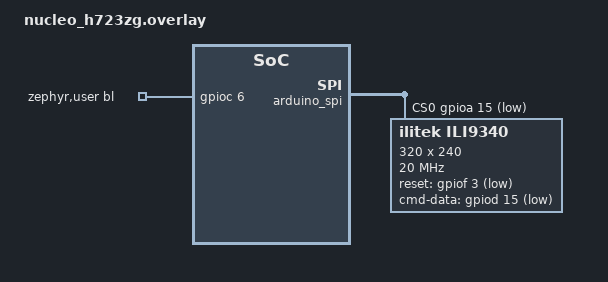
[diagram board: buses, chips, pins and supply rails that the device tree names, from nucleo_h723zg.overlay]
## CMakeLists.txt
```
# SPDX-License-Identifier: Apache-2.0

cmake_minimum_required(VERSION 3.20.0)
find_package(Zephyr REQUIRED HINTS $ENV{ZEPHYR_BASE})
project(empty_project)
set_property(TARGET app PROPERTY CXX_STANDARD 17)
target_sources(app PRIVATE src/main.cpp src/pca9685.c src/ui.cpp)
```

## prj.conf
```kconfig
CONFIG_HEAP_MEM_POOL_SIZE=16384
CONFIG_MAIN_STACK_SIZE=8192
CONFIG_GPIO=y
CONFIG_SPI=y
CONFIG_I2C=y
CONFIG_USB_DEVICE_STACK=y
CONFIG_USB_DEVICE_PRODUCT="EspMon"
CONFIG_USB_DRIVER_LOG_LEVEL_ERR=y
CONFIG_USB_CDC_ACM=y
CONFIG_USB_DEVICE_PID=0x0110
CONFIG_USB_DEVICE_INITIALIZE_AT_BOOT=y
CONFIG_UART_INTERRUPT_DRIVEN=y 
CONFIG_SERIAL=y
CONFIG_UART_LINE_CTRL=y
CONFIG_UART_LINE_CTRL=y
CONFIG_SERIAL=y
CONFIG_DISPLAY=y
CONFIG_PWM=y
CONFIG_PWM_PCA9685=y
CONFIG_LOG=y
CONFIG_HTCW_BITS=y
CONFIG_HTCW_IO=y
CONFIG_IO_NO_FS=y
CONFIG_HTCW_ML=y
CONFIG_HTCW_DATA=y
CONFIG_HTCW_GFX=y
CONFIG_HTCW_UIX=y
CONFIG_CPP=y
CONFIG_STD_CPP17=y
CONFIG_NEWLIB_LIBC=y
```

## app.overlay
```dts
&zephyr_udc0 {
    cdc_acm_uart0: cdc_acm_uart0 {
        compatible = "zephyr,cdc-acm-uart";
        status = "okay";
    };
    
};
/ {
    chosen {
        zephyr,console = &cdc_acm_uart0;
        zephyr,shell-uart = &cdc_acm_uart0;
    };
};
```

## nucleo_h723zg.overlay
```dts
#include <zephyr/dt-bindings/display/ili9xxx.h>
/ {
	chosen {
		zephyr,display = &ili9340;
	};
	zephyr,user {
		// backlight
		bl_gpios = <&gpioc 6 GPIO_ACTIVE_HIGH>;
	};	
};
&arduino_spi {
	status = "okay";
	cs-gpios = <&gpioa 15 (GPIO_ACTIVE_LOW | GPIO_PULL_UP)>;
	ili9340: ili9340@0 {
		compatible = "ilitek,ili9340";
		spi-max-frequency = <20000000>;
		reg = <0>;
		reset-gpios = <&gpiof 3 (GPIO_ACTIVE_LOW | GPIO_PULL_UP)>;
        cmd-data-gpios = <&gpiod 15 (GPIO_ACTIVE_LOW | GPIO_PULL_UP)>;
		width = <320>;
		height = <240>;
		pixel-format = <ILI9XXX_PIXEL_FORMAT_RGB565>;
		rotation = <270>;
		frmctr1 = [00 18];
		pwctrl1 = [23 00];
		vmctrl1 = [3e 28];
		vmctrl2 = [86];
		pgamctrl = [0f 31 2b 0c 0e 08 4e f1 37 07 10 03 0e 09 00];
		ngamctrl = [00 0e 14 03 11 07 31 c1 48 08 0f 0c 31 36 0f];
	};
};
```

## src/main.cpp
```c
/*
 * Copyright (c) 2016 Intel Corporation
 *
 * SPDX-License-Identifier: Apache-2.0
 */
#define SPI_OP                                                                                     \
	SPI_OP_MODE_MASTER | SPI_MODE_CPOL | SPI_MODE_CPHA | SPI_WORD_SET(8) | SPI_LINES_SINGLE
#include <zephyr/kernel.h>
#include <zephyr/device.h>
#include <zephyr/drivers/gpio.h>
#include <zephyr/drivers/spi.h>
#include <zephyr/drivers/i2c.h>
#include <zephyr/drivers/led.h>
#include <zephyr/drivers/display.h>
#include <zephyr/logging/log.h>
#include <string.h>
#include <stdio.h>
#include <gfx.hpp>
#include <uix.hpp>
#include "interface.hpp"
#include "ui.hpp"
extern "C" int main(void);

#define LOG_LEVEL CONFIG_LOG_DEFAULT_LEVEL
LOG_MODULE_REGISTER(app);

#define ZEPHYR_USER_NODE DT_PATH(zephyr_user)

using namespace gfx;
using namespace uix;

static const struct gpio_dt_spec lcd_bl = GPIO_DT_SPEC_GET(ZEPHYR_USER_NODE, bl_gpios);


static uint32_t get_ms() {
	return k_uptime_get();
}

static int serial_getch() {
	return -1;
    //return getc(stdin);
}
static size_t serial_read_bytes(uint8_t* buf, size_t len) {
	return fread(buf,1,len,stdin);
}
int main(void)
{
	printf("booted\n");
	static uint32_t timeout_ts=0;
	bool connected=false;
	int old_cpu_temp=-1;
	int old_gpu_temp=0;
	char cpu_sz[16];
	char gpu_sz[16];
	main_screen_init();
	disconnected_screen_init();
	int ret;
	
	if (!gpio_is_ready_dt(&lcd_bl)) {
		printf("Could not get backlight GPIO. Aborting\n");
		return -1;
	}
	ret = gpio_pin_configure_dt(&lcd_bl, GPIO_OUTPUT_ACTIVE);
	if (ret < 0) {
		return -1;
	}
	gpio_pin_set_dt(&lcd_bl, 1);
	
	if (display_dev == NULL) {
		printf("device not found.  Aborting.\n");
		gpio_pin_set_dt(&lcd_bl, 0);
		return -1;
	}
	display_blanking_off(display_dev);
	while(serial_getch()!=-1);
	printf("cleared serial buffer\n");
	while (1) {
		// timeout for disconnection detection (1 second)
		if(timeout_ts!=0 && get_ms()>timeout_ts+1000) {
			timeout_ts = 0;
			active_screen=&disconnected_screen;
			active_screen->invalidate();
			connected = false;
		}
		
		// listen for incoming serial
		bool done = false;
		while(!done) {
			int i = serial_getch();
			uint8_t tmp;    
			if(i>-1) { // if data received...
				// reset the disconnect timeout
				timeout_ts = get_ms(); 
				if(!connected) {
					active_screen = &main_screen;
					active_screen->invalidate();
					connected = true;
				}
				printf("found serial data\n");
				switch(i) {
					case read_status_t::command: {
						read_status_t data;
						if(sizeof(data)==serial_read_bytes((uint8_t*)&data,sizeof(data))) {
							// update the CPU graph buffer (usage)
							if (cpu_buffers[0].full()) {
								cpu_buffers[0].get(&tmp);
							}
							cpu_buffers[0].put((data.cpu_usage/100.0f)*255);
							// update the bar and label values (usage)
							cpu_values[0]=data.cpu_usage/100.0f;
							// update the CPU graph buffer (temperature)
							if (cpu_buffers[1].full()) {
								cpu_buffers[1].get(&tmp);
							}
							cpu_buffers[1].put((data.cpu_temp/(float)data.cpu_temp_max)*255);
							if(data.cpu_temp>cpu_max_temp) {
								cpu_max_temp = data.cpu_temp;
							}
							// update the bar and label values (temperature)
							cpu_values[1]=data.cpu_temp/(float)data.cpu_temp_max;
							// force a redraw of the CPU bar and graph
							cpu_graph.invalidate();
							cpu_bar.invalidate();
							// update CPU the label (temperature)
							if(old_cpu_temp!=data.cpu_temp) {
								old_cpu_temp = data.cpu_temp;
								sprintf(cpu_sz,"%dC",data.cpu_temp);
								cpu_temp_label.text(cpu_sz);
							}
							// update the GPU graph buffer (usage)
							if (gpu_buffers[0].full()) {
								gpu_buffers[0].get(&tmp);
							}
							gpu_buffers[0].put((data.gpu_usage/100.0f)*255);
							// update the bar and label values (usage)
							gpu_values[0] = data.gpu_usage/100.0f;
							// update the GPU graph buffer (temperature)
							if (gpu_buffers[1].full()) {
								gpu_buffers[1].get(&tmp);
							}
							gpu_buffers[1].put((data.gpu_temp/(float)data.gpu_temp_max)*255);
							if(data.gpu_temp>gpu_max_temp) {
								gpu_max_temp = data.gpu_temp;
							}
							// update the bar and label values (temperature)
							gpu_values[1] = data.gpu_temp/(float)data.gpu_temp_max;
							// force a redraw of the GPU bar and graph
							gpu_graph.invalidate();
							gpu_bar.invalidate();
							// update GPU the label (temperature)
							if(old_gpu_temp!=data.gpu_temp) {
								old_gpu_temp = data.gpu_temp;
								sprintf(gpu_sz,"%dC",data.gpu_temp);
								gpu_temp_label.text(gpu_sz);   
							}
						} else {
							// eat bad data
							while(-1!=serial_getch());
						}
					}
					break;
					default:
						// eat unrecognized data
						while(-1!=serial_getch());
						break;
				};
			} else {
				done = true;
			}
		}
		if(active_screen!=nullptr) {
			active_screen->update();
		}		
	}
	
	return 0;
}
```

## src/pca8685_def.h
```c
#ifndef PCA9685_DEF_H
#define PCA9685_DEF_H
// REGISTER ADDRESSES
#define PCA9685_MODE1 0x00      /**< Mode Register 1 */
#define PCA9685_MODE2 0x01      /**< Mode Register 2 */
#define PCA9685_SUBADR1 0x02    /**< I2C-bus subaddress 1 */
#define PCA9685_SUBADR2 0x03    /**< I2C-bus subaddress 2 */
#define PCA9685_SUBADR3 0x04    /**< I2C-bus subaddress 3 */
#define PCA9685_ALLCALLADR 0x05 /**< LED All Call I2C-bus address */
#define PCA9685_LED0_ON_L 0x06  /**< LED0 on tick, low byte*/
#define PCA9685_LED0_ON_H 0x07  /**< LED0 on tick, high byte*/
#define PCA9685_LED0_OFF_L 0x08 /**< LED0 off tick, low byte */
#define PCA9685_LED0_OFF_H 0x09 /**< LED0 off tick, high byte */
// etc all 16:  LED15_OFF_H 0x45
#define PCA9685_ALLLED_ON_L 0xFA  /**< load all the LEDn_ON registers, low */
#define PCA9685_ALLLED_ON_H 0xFB  /**< load all the LEDn_ON registers, high */
#define PCA9685_ALLLED_OFF_L 0xFC /**< load all the LEDn_OFF registers, low */
#define PCA9685_ALLLED_OFF_H 0xFD /**< load all the LEDn_OFF registers,high */
#define PCA9685_PRESCALE 0xFE     /**< Prescaler for PWM output frequency */
#define PCA9685_TESTMODE 0xFF     /**< defines the test mode to be entered */

// MODE1 bits
#define MODE1_ALLCAL 0x01  /**< respond to LED All Call I2C-bus address */
#define MODE1_SUB3 0x02    /**< respond to I2C-bus subaddress 3 */
#define MODE1_SUB2 0x04    /**< respond to I2C-bus subaddress 2 */
#define MODE1_SUB1 0x08    /**< respond to I2C-bus subaddress 1 */
#define MODE1_SLEEP 0x10   /**< Low power mode. Oscillator off */
#define MODE1_AI 0x20      /**< Auto-Increment enabled */
#define MODE1_EXTCLK 0x40  /**< Use EXTCLK pin clock */
#define MODE1_RESTART 0x80 /**< Restart enabled */
// MODE2 bits
#define MODE2_OUTNE_0 0x01 /**< Active LOW output enable input */
#define MODE2_OUTNE_1                                                          \
  0x02 /**< Active LOW output enable input - high impedience */
#define MODE2_OUTDRV 0x04 /**< totem pole structure vs open-drain */
#define MODE2_OCH 0x08    /**< Outputs change on ACK vs STOP */
#define MODE2_INVRT 0x10  /**< Output logic state inverted */

#define PCA9685_I2C_ADDRESS 0x40      /**< Default PCA9685 I2C Slave Address */
#define FREQUENCY_OSCILLATOR 25000000 /**< Int. osc. frequency in datasheet */

#define PCA9685_PRESCALE_MIN 3   /**< minimum prescale value */
#define PCA9685_PRESCALE_MAX 255 /**< maximum prescale value */
#endif // PCA9685_DEF_H
```

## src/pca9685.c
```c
#include "pca9685_def.h"
#include "pca9685.h"
#include <zephyr/sys_clock.h>
#include <zephyr/kernel.h>
#include <zephyr/drivers/i2c.h>
int pca9685_reset(const struct device *i2c_dev, uint8_t address)
{
	int ret = i2c_reg_write_byte(i2c_dev, address, PCA9685_MODE1, MODE1_RESTART);
	if (ret) {
		printk("Unable to write to MODE1. (err %i)\n", ret);
		return ret;
	}
	k_timeout_t t;
	t.ticks = 10;
	k_sleep(t);
	return 0;
}
int pca9685_sleep(const struct device *i2c_dev, uint8_t address)
{
	uint8_t val;
	int ret = i2c_reg_read_byte(i2c_dev, address, PCA9685_MODE1, &val);
	if (ret) {
		printk("Unable to read from MODE1. (err %i)\n", ret);
		return ret;
	}
	uint8_t sleep = val | MODE1_SLEEP; // set sleep bit high
	ret = i2c_reg_write_byte(i2c_dev, address, PCA9685_MODE1, sleep);
	if (ret) {
		printk("Unable to write to MODE1. (err %i)\n", ret);
		return ret;
	}

	k_timeout_t t;
	t.ticks = 10;
	k_sleep(t);
	return 0;
}
int pca9685_wake(const struct device *i2c_dev, uint8_t address)
{
	uint8_t sleep;
	int ret = i2c_reg_read_byte(i2c_dev, address, PCA9685_MODE1, &sleep);
	if (ret) {
		printk("Unable to read from MODE1. (err %i)\n", ret);
		return ret;
	}
	uint8_t wakeup = sleep & ~MODE1_SLEEP; // set sleep bit low
	ret = i2c_reg_write_byte(i2c_dev, address, PCA9685_MODE1, wakeup);
	if (ret) {
		printk("Unable to write to MODE1. (err %i)\n", ret);
		return ret;
	}
	return 0;
}
int pca9685_set_ext_clock(const struct device *i2c_dev, uint8_t address, uint8_t prescale)
{
	uint8_t oldmode;
	int ret = i2c_reg_read_byte(i2c_dev, address, PCA9685_MODE1, &oldmode);
	if (ret) {
		printk("Unable to read from MODE1. (err %i)\n", ret);
		return ret;
	}
	uint8_t newmode = (oldmode & ~MODE1_RESTART) | MODE1_SLEEP; // sleep
	ret = i2c_reg_write_byte(i2c_dev, address, PCA9685_MODE1,
				 newmode); // go to sleep, turn off internal oscillator
	if (ret) {
		printk("Unable to write to MODE1. (err %i)\n", ret);
		return ret;
	}
	// This sets both the SLEEP and EXTCLK bits of the MODE1 register to switch to
	// use the external clock.
	ret = i2c_reg_write_byte(i2c_dev, address, PCA9685_MODE1, (newmode |= MODE1_EXTCLK));
	if (ret) {
		printk("Unable to write to MODE1. (err %i)\n", ret);
		return ret;
	}
	ret = i2c_reg_write_byte(i2c_dev, address, PCA9685_PRESCALE, prescale); // set the prescaler
	if (ret) {
		printk("Unable to write to PRESCALE. (err %i)\n", ret);
		return ret;
	}
	k_timeout_t t;
	t.ticks = 5;
	k_sleep(t);
	// clear the SLEEP bit to start
	ret = i2c_reg_write_byte(i2c_dev, address, PCA9685_MODE1,
				 (newmode & ~MODE1_SLEEP) | MODE1_RESTART | MODE1_AI);
	if (ret) {
		printk("Unable to write to MODE1. (err %i)\n", ret);
		return ret;
	}
	return 0;
}
int pca9685_get_ext_clock(const struct device *i2c_dev, uint8_t address, uint8_t *out_prescale)
{
	int ret = i2c_reg_read_byte(i2c_dev, address, PCA9685_PRESCALE,
				    out_prescale); // set the prescaler
	if (ret) {
		printk("Unable to read from PRESCALE. (err %i)\n", ret);
		return ret;
	}
	return 0;
}
int pca9685_set_pwm_freq(const struct device *i2c_dev, uint8_t address, float oscillator_freq,
			 float freq)
{
	// Range output modulation frequency is dependant on oscillator
	if (freq < 1) {
		freq = 1;
	}
	if (freq > 3500) {
		freq = 3500; // Datasheet limit is 3052=50MHz/(4*4096)
	}

	float prescaleval = ((oscillator_freq / (freq * 4096.0)) + 0.5) - 1;
	if (prescaleval < PCA9685_PRESCALE_MIN) {
		prescaleval = PCA9685_PRESCALE_MIN;
	}
	if (prescaleval > PCA9685_PRESCALE_MAX) {
		prescaleval = PCA9685_PRESCALE_MAX;
	}
	uint8_t prescale = (uint8_t)prescaleval;

	uint8_t oldmode;
	int ret = i2c_reg_read_byte(i2c_dev, address, PCA9685_MODE1, &oldmode);
	if (ret) {
		printk("Unable to read from MODE1. (err %i)\n", ret);
		return ret;
	}
	uint8_t newmode = (oldmode & ~MODE1_RESTART) | MODE1_SLEEP;         // sleep
	ret = i2c_reg_write_byte(i2c_dev, address, PCA9685_MODE1, newmode); // go to sleep
	if (ret) {
		printk("Unable to write to MODE1. (err %i)\n", ret);
		return ret;
	}
	ret = i2c_reg_write_byte(i2c_dev, address, PCA9685_PRESCALE, prescale); // set the prescaler
	if (ret) {
		printk("Unable to write to PRESCALE. (err %i)\n", ret);
		return ret;
	}
	ret = i2c_reg_write_byte(i2c_dev, address, PCA9685_MODE1, oldmode);
	if (ret) {
		printk("Unable to write to MODE1. (err %i)\n", ret);
		return ret;
	}
	k_timeout_t t;
	t.ticks = 5;
	k_sleep(t);
	// This sets the MODE1 register to turn on auto increment.
	ret = i2c_reg_write_byte(i2c_dev, address, PCA9685_MODE1,
				 oldmode | MODE1_RESTART | MODE1_AI);
	if (ret) {
		printk("Unable to write to MODE1. (err %i)\n", ret);
		return ret;
	}
	return 0;
}
int pca9685_set_pwm(const struct device *i2c_dev, uint8_t address, uint8_t num, uint16_t on,
		    uint16_t off)
{
	uint8_t buffer[5];
	buffer[0] = PCA9685_LED0_ON_L + 4 * num;
	buffer[1] = on;
	buffer[2] = on >> 8;
	buffer[3] = off;
	buffer[4] = off >> 8;
	int ret = i2c_write(i2c_dev, buffer, sizeof(buffer), address);
	if (ret) {
		printk("Unable to set PWM. (err %i)\n", ret);
		return ret;
	}

	return 0;
}
int pca9685_get_pwm(const struct device *i2c_dev, uint8_t address, uint8_t num, uint16_t *out_on,
		    uint16_t *out_off)
{
	uint8_t out_buf[2];
    uint8_t in_buf[2];
	in_buf[0] = PCA9685_LED0_ON_L + 4 * num;
	in_buf[1] = 0;
	int ret;
    if (out_on != NULL) {
		ret = i2c_write_read(i2c_dev,address,in_buf,sizeof(in_buf),out_buf,sizeof(out_buf));
        if(ret) {
            printk("Unable to get PWM on value. (err %i)\n", ret);
            return ret;
        }
        *out_on =  ((uint16_t)out_buf[0]) | (((uint16_t)out_buf[1]) << 8);
	}
    if(out_off!=NULL) {
        in_buf[0]+=2;
        ret = i2c_write_read(i2c_dev,address,in_buf,sizeof(in_buf),out_buf,sizeof(out_buf));
        if(ret) {
            printk("Unable to get PWM off value. (err %i)\n", ret);
            return ret;
        }
        *out_off =  ((uint16_t)out_buf[0]) | (((uint16_t)out_buf[1]) << 8);
    }
    return 0;
}
```

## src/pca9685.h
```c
#ifndef PCA9685_H
#define PCA9685_H
#include <zephyr/device.h>
#define PCA9685_I2C_ADDRESS 0x40      /**< Default PCA9685 I2C Slave Address */
#define PCA9685_FREQUENCY_OSCILLATOR 25000000 /**< Int. osc. frequency in datasheet */
#ifdef __cplusplus
extern "C" {
#endif
	int pca9685_reset(const struct device* i2c_dev, uint8_t address);
	int pca9685_sleep(const struct device* i2c_dev, uint8_t address);
    int pca9685_wake(const struct device* i2c_dev, uint8_t address);
	int pca9685_set_ext_clock(const struct device* i2c_dev, uint8_t address,uint8_t prescale);
	int pca9685_get_ext_clock(const struct device* i2c_dev, uint8_t address,uint8_t* out_prescale);
	int pca9685_set_pwm_freq(const struct device* i2c_dev, uint8_t address,float oscillator_freq, float freq);
	int pca9685_set_pwm(const struct device*i2c_dev, uint8_t address, uint8_t num, uint16_t on, uint16_t off);
	int pca9685_get_pwm(const struct device *i2c_dev, uint8_t address, uint8_t num, uint16_t* out_on, uint16_t* out_off);
#ifdef __cplusplus
}
#endif
#endif
```

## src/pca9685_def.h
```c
#ifndef PCA9685_DEF_H
#define PCA9685_DEF_H
// REGISTER ADDRESSES
#define PCA9685_MODE1 0x00      /**< Mode Register 1 */
#define PCA9685_MODE2 0x01      /**< Mode Register 2 */
#define PCA9685_SUBADR1 0x02    /**< I2C-bus subaddress 1 */
#define PCA9685_SUBADR2 0x03    /**< I2C-bus subaddress 2 */
#define PCA9685_SUBADR3 0x04    /**< I2C-bus subaddress 3 */
#define PCA9685_ALLCALLADR 0x05 /**< LED All Call I2C-bus address */
#define PCA9685_LED0_ON_L 0x06  /**< LED0 on tick, low byte*/
#define PCA9685_LED0_ON_H 0x07  /**< LED0 on tick, high byte*/
#define PCA9685_LED0_OFF_L 0x08 /**< LED0 off tick, low byte */
#define PCA9685_LED0_OFF_H 0x09 /**< LED0 off tick, high byte */
// etc all 16:  LED15_OFF_H 0x45
#define PCA9685_ALLLED_ON_L 0xFA  /**< load all the LEDn_ON registers, low */
#define PCA9685_ALLLED_ON_H 0xFB  /**< load all the LEDn_ON registers, high */
#define PCA9685_ALLLED_OFF_L 0xFC /**< load all the LEDn_OFF registers, low */
#define PCA9685_ALLLED_OFF_H 0xFD /**< load all the LEDn_OFF registers,high */
#define PCA9685_PRESCALE 0xFE     /**< Prescaler for PWM output frequency */
#define PCA9685_TESTMODE 0xFF     /**< defines the test mode to be entered */

// MODE1 bits
#define MODE1_ALLCAL 0x01  /**< respond to LED All Call I2C-bus address */
#define MODE1_SUB3 0x02    /**< respond to I2C-bus subaddress 3 */
#define MODE1_SUB2 0x04    /**< respond to I2C-bus subaddress 2 */
#define MODE1_SUB1 0x08    /**< respond to I2C-bus subaddress 1 */
#define MODE1_SLEEP 0x10   /**< Low power mode. Oscillator off */
#define MODE1_AI 0x20      /**< Auto-Increment enabled */
#define MODE1_EXTCLK 0x40  /**< Use EXTCLK pin clock */
#define MODE1_RESTART 0x80 /**< Restart enabled */
// MODE2 bits
#define MODE2_OUTNE_0 0x01 /**< Active LOW output enable input */
#define MODE2_OUTNE_1                                                          \
  0x02 /**< Active LOW output enable input - high impedience */
#define MODE2_OUTDRV 0x04 /**< totem pole structure vs open-drain */
#define MODE2_OCH 0x08    /**< Outputs change on ACK vs STOP */
#define MODE2_INVRT 0x10  /**< Output logic state inverted */

#define FREQUENCY_OSCILLATOR 25000000 /**< Int. osc. frequency in datasheet */

#define PCA9685_PRESCALE_MIN 3   /**< minimum prescale value */
#define PCA9685_PRESCALE_MAX 255 /**< maximum prescale value */
#endif // PCA9685_DEF_H
```

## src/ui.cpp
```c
#include "ui.hpp"
// required to implort the icon implementation
// must appear only once in the project
#define DISCONNECTED_ICON_IMPLEMENTATION
#include "disconnected_icon.hpp"
// our font for the UI. 
#define OPENSANS_REGULAR_IMPLEMENTATION
#include "OpenSans_Regular.hpp"

// for easier modification
const gfx::open_font& text_font = OpenSans_Regular;

using namespace uix;
using namespace gfx;

const struct device *display_dev = DEVICE_DT_GET(DT_CHOSEN(zephyr_display));
uint8_t lcd_buffer[lcd_buffer_size];
screen_t main_screen(lcd_buffer_size, lcd_buffer);
screen_t disconnected_screen(lcd_buffer_size, lcd_buffer);
screen_t& active_screen = disconnected_screen;
void uix_flush(const rect16 &bounds, const void *bmp, void *state) {
	uint16_t w = bounds.x2 - bounds.x1 + 1;
	uint16_t h = bounds.y2 - bounds.y1 + 1;
	struct display_buffer_descriptor desc;
	desc.buf_size = screen_t::bitmap_type::sizeof_buffer({w, h});
	desc.width = w;
	desc.pitch = w;
	desc.height = h;
	display_write(display_dev, bounds.x1, bounds.y1, &desc, (void *)bmp);
    active_screen.set_flush_complete();
}

// used for the draw routines
// the state data for the bars
typedef struct bar_info {
    size_t size;
    float* values;
    rgba_pixel<32>* colors;
} bar_info_t;
// the state data for the graphs
typedef struct graph_info {
    size_t size;
    buffer_t* buffers;
    rgba_pixel<32>* colors;
} graph_info_t;

// callback for a canvas control to draw the bars
static void draw_bar(canvas_t::control_surface_type& destination, 
                    const gfx::srect16& clip, 
                    void* state) {
    // reconstitute our state info
    const bar_info_t& inf = *(bar_info_t*)state;
    // get the height of each bar
    int h = destination.dimensions().height / inf.size;
    int y = 0;
    for (size_t i = 0; i < inf.size; ++i) {
        // the current value to graph
        float v = inf.values[i];
        rgba_pixel<32> col = inf.colors[i];
        rgba_pixel<32> bcol = col;
        // if the color is the default (black), then we create a gradient
        // using the HSV color model
        if (col == rgba_pixel<32>()) {
            // two reference points for the ends of the graph
            hsva_pixel<32> px = color<hsva_pixel<32>>::red;
            hsva_pixel<32> px2 = color<hsva_pixel<32>>::green;
            auto h1 = px.channel<channel_name::H>();
            auto h2 = px2.channel<channel_name::H>();
            // adjust so we don't overshoot
            h2 -= 32;
            // the actual range we're drawing
            auto range = abs(h2 - h1) + 1;
            // the width of each gradient segment
            int w = (int)ceilf(destination.dimensions().width / 
                                (float)range) + 1;
            // the step of each segment - default 1
            int s = 1;
            // if the gradient is larger than the control
            if (destination.dimensions().width < range) {
                // change the segment to width 1
                w = 1;
                // and make its step larger
                s = range / (float)destination.dimensions().width;
            }
            int x = 0;
            // c is the current color offset
            // it increases by s (step)
            int c = 0;
            // for each color in the range
            for (auto j = 0; j < range; ++j) {
                // adjust the H value (inverted and offset)
                px.channel<channel_name::H>(range - c - 1 + h1);
                // create the rect for our segment
                rect16 r(x, y, x + w, y + h);
                // if we're drawing the filled part
                // it's fully opaque
                // otherwise it's semi-transparent
                if (x >= (v * destination.dimensions().width)) {
                    px.channel<channel_name::A>(95);
                } else {
                    px.channel<channel_name::A>(255);
                }
                // black out the area underneath so alpha blending
                // works correctly
                draw::filled_rectangle(destination, 
                                    r, 
                                    main_screen.background_color(), 
                                    &clip);
                // draw the segment
                draw::filled_rectangle(destination, 
                                    r, 
                                    px, 
                                    &clip);
                // increment
                x += w;
                c += s;
            }
        } else {
            // draw the solid color bars
            // first draw the background
            bcol.channel<channel_name::A>(95);
            draw::filled_rectangle(destination, 
                                srect16((destination.dimensions().width * v), 
                                        y, 
                                        destination.dimensions().width - 1, 
                                        y + h), 
                                bcol, 
                                &clip);
            // now the filled part
            draw::filled_rectangle(destination, 
                                srect16(0, 
                                        y, 
                                        (destination.dimensions().width * v) - 1, 
                                        y + h),
                                col, 
                                &clip);
        }
        // increment to the next bar
        y += h;
    }
}
static void draw_graph(canvas_t::control_surface_type& destination, 
                    const gfx::srect16& clip, 
                    void* state) {
    // reconstitute the state
    const graph_info_t& inf = *(graph_info_t*)state;
    // store the dimensions
    const uint16_t width = destination.dimensions().width;
    const uint16_t height = destination.dimensions().height;
    spoint16 pt=spoint16::zero();
    // for each graph
    for (size_t i = 0; i < inf.size; ++i) {
        // easy access to the current buffer
        buffer_t& buf = inf.buffers[i];
        // the current color
        rgba_pixel<32> col = inf.colors[i];
        // is the graph a gradient?
        bool grad = col == rgba_pixel<32>();
        // the point value
        float v = NAN;
        // if we have data
        if (!buf.empty()) {
            // get and store the first value
            // (translating it to the graph)
            v = *buf.peek(0)/255.0f;
            pt.x = 0;
            pt.y = height - (v * height) - 1;
            if (pt.y < 0) pt.y = 0;
        }
        // for each subsequent value
        for (size_t i = 1; i < buf.size(); ++i) {
            // retrieve the value
            v = *buf.peek(i)/255.0f;
            // if it's a gradient
            if (grad) {
                // get our anchors for the ends
                hsva_pixel<32> px = color<hsva_pixel<32>>::red;
                hsva_pixel<32> px2 = color<hsva_pixel<32>>::green;
                // get our H values
                auto h1 = px.channel<channel_name::H>();
                auto h2 = px2.channel<channel_name::H>();
                // offset the second one to avoid overshoot
                h2 -= 32;
                // get the H range
                auto range = abs(h2 - h1) + 1;
                // set the H value based on v (inverted and offet)
                px.channel<channel_name::H>(h1 + (range - (v * range)));
                // convert to RGBA8888
                convert(px, &col);
            }
            // compute the current data point
            spoint16 pt2;
            pt2.x = (i / 100.0f) * width;
            pt2.y = height - (v * height) - 1;
            if (pt2.y < 0) pt2.y = 0;
            // draw an anti-aliased line
            // from the old point to the 
            // new point.
            draw::line_aa(destination, 
                            srect16(pt, pt2), 
                            col, 
                            col, 
                            true, 
                            &clip);
            // store the current point as 
            // the next old point
            pt = pt2;
        }
    }
}

// define the declarations from the header
buffer_t cpu_buffers[2];
rgba_pixel<32> cpu_colors[] = {color32_t::light_blue, rgba_pixel<32>()};
float cpu_values[] = {0.0f, 0.0f};
int cpu_max_temp = 1;
buffer_t gpu_buffers[2];
rgba_pixel<32> gpu_colors[] = {color32_t::light_blue, rgba_pixel<32>()};
float gpu_values[] = {0.0f, 0.0f};
int gpu_max_temp = 1;

// define our CPU controls and state
label_t cpu_label(main_screen);
label_t cpu_temp_label(main_screen);
canvas_t cpu_bar(main_screen);
canvas_t cpu_graph(main_screen);
static bar_info_t cpu_bar_state;
static graph_info_t cpu_graph_state;

// define our GPU controls and state
label_t gpu_label(main_screen);
canvas_t gpu_bar(main_screen);
label_t gpu_temp_label(main_screen);
canvas_t gpu_graph(main_screen);
static bar_info_t gpu_bar_state;
static graph_info_t gpu_graph_state;

// define our disconnected controls
svg_box_t disconnected_svg(disconnected_screen);
label_t disconnected_label(disconnected_screen);

// initialize the main screen
void main_screen_init() {
    main_screen.on_flush_callback(uix_flush);
    // declare a transparent pixel/color
    rgba_pixel<32> transparent(0, 0, 0, 0);
    // screen is black
    main_screen.background_color(color_t::black);

    // declare the first label. Everything else is based on this.
    // to do so we measure the size of the text (@ 1/7th of 
    // height of the screen) and bound the label based on that
    cpu_label.text("CPU");
    cpu_label.text_line_height(main_screen.dimensions().height / 7);
    cpu_label.bounds(text_font.measure_text(ssize16::max(), 
                                spoint16::zero(), 
                                cpu_label.text(), 
                                text_font.scale(cpu_label.text_line_height()))
                                    .bounds().offset(5, 5).inflate(8, 4));
    // set the design properties
    cpu_label.text_color(color32_t::white);
    cpu_label.background_color(transparent);
    cpu_label.border_color(transparent);
    cpu_label.text_justify(uix_justify::bottom_right);
    cpu_label.text_open_font(&text_font);
    // register the control with the screen
    main_screen.register_control(cpu_label);

    // the temp label is right below the first label
    cpu_temp_label.bounds(cpu_label.bounds()
                            .offset(0, cpu_label.text_line_height() + 1));
    cpu_temp_label.text_color(color32_t::white);
    cpu_temp_label.background_color(transparent);
    cpu_temp_label.border_color(transparent);
    cpu_temp_label.text("0C");
    cpu_temp_label.text_justify(uix_justify::bottom_right);
    cpu_temp_label.text_open_font(&text_font);
    cpu_temp_label.text_line_height(cpu_label.text_line_height());
    main_screen.register_control(cpu_temp_label);

    // the bars are to the right of the label
    cpu_bar.bounds({int16_t(cpu_label.bounds().x2 + 5), 
                    cpu_label.bounds().y1, 
                    int16_t(main_screen.dimensions().width - 5), 
                    cpu_label.bounds().y2});
    cpu_bar_state.size = 2;
    cpu_bar_state.colors = cpu_colors;
    cpu_bar_state.values = cpu_values;
    cpu_bar.on_paint(draw_bar, &cpu_bar_state);
    main_screen.register_control(cpu_bar);

    // the graph is below the above items.
    cpu_graph.bounds({cpu_bar.bounds().x1, 
                        int16_t(cpu_label.bounds().y2 + 5), 
                        cpu_bar.bounds().x2, 
                        int16_t(main_screen.dimensions().height / 
                                    2 - 5)});
    cpu_graph_state.size = 2;
    cpu_graph_state.colors = cpu_colors;
    cpu_graph_state.buffers = cpu_buffers;
    cpu_graph.on_paint(draw_graph, &cpu_graph_state);
    main_screen.register_control(cpu_graph);

    // the GPU label is offset from the CPU
    // label by half the height of the screen
    gpu_label.bounds(cpu_label.bounds().offset(0, main_screen.dimensions().height / 2));
    gpu_label.text_color(color32_t::white);
    gpu_label.border_color(transparent);
    gpu_label.background_color(transparent);
    gpu_label.text("GPU");
    gpu_label.text_justify(uix_justify::bottom_right);
    gpu_label.text_open_font(&text_font);
    gpu_label.text_line_height(cpu_label.text_line_height());
    main_screen.register_control(gpu_label);

    // lay out the rest of the controls the 
    // same as was done with the CPU
    gpu_temp_label.bounds(gpu_label.bounds().offset(0, gpu_label.text_line_height() + 1));
    gpu_temp_label.text_color(color32_t::white);
    gpu_temp_label.background_color(transparent);
    gpu_temp_label.border_color(transparent);
    gpu_temp_label.text("0C");
    gpu_temp_label.text_justify(uix_justify::bottom_right);
    gpu_temp_label.text_open_font(&text_font);
    gpu_temp_label.text_line_height(cpu_label.text_line_height());
    main_screen.register_control(gpu_temp_label);

    gpu_bar.bounds({int16_t(gpu_label.bounds().x2 + 5), 
                    gpu_label.bounds().y1, 
                    int16_t(main_screen.dimensions().width - 5), 
                    gpu_label.bounds().y2});
    gpu_bar_state.size = 2;
    gpu_bar_state.colors = gpu_colors;
    gpu_bar_state.values = gpu_values;
    gpu_bar.on_paint(draw_bar, &gpu_bar_state);
    main_screen.register_control(gpu_bar);

    gpu_graph.bounds(cpu_graph.bounds()
                        .offset(0, main_screen.dimensions().height / 2));
    gpu_graph_state.size = 2;
    gpu_graph_state.colors = gpu_colors;
    gpu_graph_state.buffers = gpu_buffers;
    gpu_graph.on_paint(draw_graph, &gpu_graph_state);
    main_screen.register_control(gpu_graph);
}

void disconnected_screen_init() {
    disconnected_screen.on_flush_callback(uix_flush);
    disconnected_label.bounds(disconnected_screen.bounds());
    disconnected_label.background_color(color32_t::white);
    disconnected_label.border_color(color32_t::white);
    disconnected_screen.register_control(disconnected_label);
    // here we center and scale the SVG control based on
    // the size of the screen, clamped to a max of 128x128
    float sscale;
    if(disconnected_screen.dimensions().width<128 || disconnected_screen.dimensions().height<128) {
        sscale = disconnected_icon.scale(disconnected_screen.dimensions());
    } else {
        sscale = disconnected_icon.scale(size16(128,128));
    }
    disconnected_svg.bounds(srect16(0,
                                    0,
                                    disconnected_icon.dimensions().width*sscale-1,
                                    disconnected_icon.dimensions().height*sscale-1)
                                        .center(disconnected_screen.bounds()));
    disconnected_svg.doc(&disconnected_icon);
    disconnected_screen.register_control(disconnected_svg);
}
```

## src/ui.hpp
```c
#pragma once
#include <zephyr/kernel.h>
#include <zephyr/device.h>
#include <zephyr/drivers/display.h>
#include <uix.hpp>
#include <gfx.hpp>

using screen_t = uix::screen<320, 240, gfx::rgb_pixel<16>>;
using label_t = uix::label<typename screen_t::control_surface_type>;
using svg_box_t = uix::svg_box<typename screen_t::control_surface_type>;
using canvas_t = uix::canvas<typename screen_t::control_surface_type>;
// X11 colors (used for screen)
using color_t = gfx::color<typename screen_t::pixel_type>;
// RGBA8888 X11 colors (used for controls)
using color32_t = gfx::color<gfx::rgba_pixel<32>>;
// circular buffer for graphs
using buffer_t = data::circular_buffer<uint8_t,100>;

extern const struct device *display_dev;
constexpr static const size_t lcd_buffer_size = 64 * 1024;
extern uint8_t lcd_buffer[];
extern screen_t main_screen;
extern screen_t disconnected_screen;
extern screen_t& active_screen;
constexpr static const gfx::rgba_pixel<32> transparent(0, 0, 0, 0);

extern void uix_flush(const gfx::rect16 &bounds, const void *bmp, void *state);

// the buffers hold the graph data for the CPU
extern buffer_t cpu_buffers[];
// the array holds the bar/label data for the CPU
extern float cpu_values[];
// the max temperature received for the CPU
extern int cpu_max_temp;
// the colors for the CPU bar and graph
extern gfx::rgba_pixel<32> cpu_colors[];
// the buffers hold the graph data for the GPU
extern buffer_t gpu_buffers[];
// the array holds the bar/label data for the GPU
extern float gpu_values[];
// the max temperature received for the GPU
extern int gpu_max_temp;
// the colors for the GPU bar and graph
extern gfx::rgba_pixel<32> gpu_colors[];

// the screen that holds the controls
extern screen_t main_screen;

// the disconnected screen
extern screen_t disconnected_screen;

// the controls for the CPU
extern label_t cpu_label;
extern label_t cpu_temp_label;
extern canvas_t cpu_bar;
extern canvas_t cpu_graph;

// the controls for the GPU
extern label_t gpu_label;
extern label_t gpu_temp_label;
extern canvas_t gpu_bar;
extern canvas_t gpu_graph;

// the controls for the disconnected screen
extern label_t disconnected_label;
extern svg_box_t disconnected_svg;

extern void main_screen_init();
extern void disconnected_screen_init();
```
